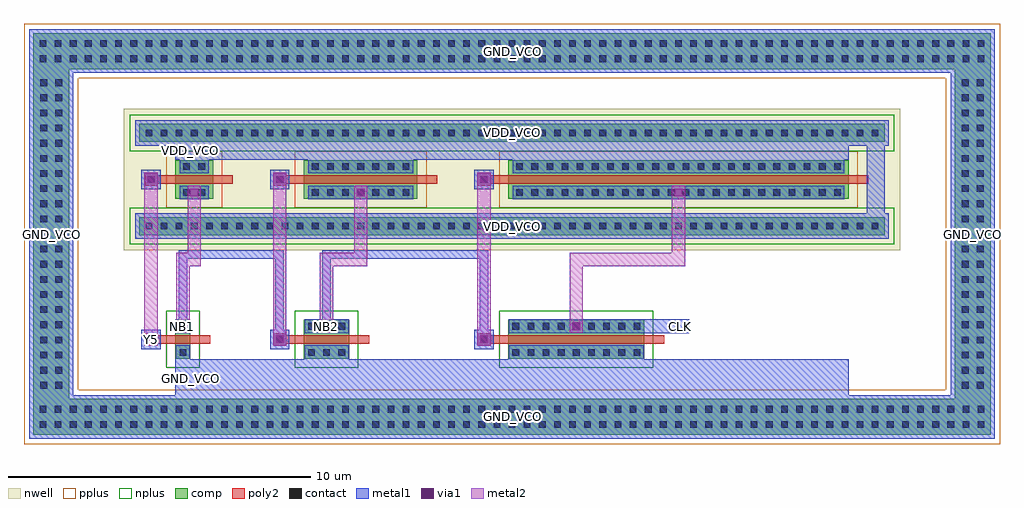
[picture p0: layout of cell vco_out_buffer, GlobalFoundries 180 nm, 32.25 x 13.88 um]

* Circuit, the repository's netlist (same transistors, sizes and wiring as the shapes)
* Extracted by KLayout with GF180MCU LVS runset on : 11/09/2026 00:06

.SUBCKT vco_out_buffer CLK GND_VCO NB1 NB2 VDD_VCO Y5
M$1 VDD_VCO NB2 CLK VDD_VCO pfet_03v3 L=0.28U W=11.25U AS=5.625P AD=5.625P
+ PS=23.5U PD=23.5U
M$2 VDD_VCO NB1 NB2 VDD_VCO pfet_03v3 L=0.28U W=3.75U AS=1.875P AD=1.875P
+ PS=8.5U PD=8.5U
M$3 VDD_VCO Y5 NB1 VDD_VCO pfet_03v3 L=0.28U W=1.25U AS=0.625P AD=0.625P
+ PS=3.5U PD=3.5U
M$4 CLK NB2 GND_VCO GND_VCO nfet_03v3 L=0.28U W=4.5U AS=2.25P AD=2.25P PS=10U
+ PD=10U
M$5 NB2 NB1 GND_VCO GND_VCO nfet_03v3 L=0.28U W=1.5U AS=0.75P AD=0.75P PS=4U
+ PD=4U
M$6 NB1 Y5 GND_VCO GND_VCO nfet_03v3 L=0.28U W=0.5U AS=0.25P AD=0.25P PS=2U
+ PD=2U
.ENDS vco_out_buffer

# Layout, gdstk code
import gdstk
lib = gdstk.Library(unit=1e-6, precision=1e-09)
def R(c, l, rs):  # rectangles x0, y0, x1, y1
    for r in rs: c.add(gdstk.rectangle(r[:2], r[2:], *l))
def A(c, l, x, y, w, h, nx, ny, dx, dy):  # array of equal rectangles
    R(c, l, [(x+i*dx, y+j*dy, x+i*dx+w, y+j*dy+h) for i in range(nx) for j in range(ny)])
nwell = (21, 0)
comp = (22, 0)
poly2 = (30, 0)
pplus = (31, 0)
nplus = (32, 0)
contact = (33, 0)
metal1 = (34, 0)
via1 = (35, 0)
metal2 = (36, 0)

vco_out_buffer = lib.new_cell('vco_out_buffer')
R(vco_out_buffer, nwell, [(-1.7,3.58,23.95,8.26)])
R(vco_out_buffer, comp, [(-4.7,-2.52,26.95,-1.32), (-4.7,-1.32,-3.5,9.56), (25.75,-1.32,26.95,9.56), (0,0,0.5,1.28), (4.25,0,5.75,1.28), (11,0,15.5,1.28), (-1.2,4.08,23.45,4.68), (0,5.28,1.25,6.56), (4.25,5.28,8,6.56), (11,5.28,22.25,6.56), (-1.2,7.16,23.45,7.76), (-4.7,9.56,26.95,10.76)])
R(vco_out_buffer, poly2, [(-1,0.44,-0.6,0.84), (3.25,0.44,3.65,0.84), (10,0.44,10.4,0.84), (-0.65,0.5,1.15,0.78), (3.6,0.5,6.4,0.78), (10.35,0.5,16.15,0.78), (-1,5.72,-0.6,6.12), (3.25,5.72,3.65,6.12), (10,5.72,10.4,6.12), (-0.65,5.78,1.9,6.06), (3.6,5.78,8.65,6.06), (10.35,5.78,22.9,6.06)])
R(vco_out_buffer, pplus, [(-5,-2.82,27.25,-1.02), (-5,-1.62,-3.2,9.86), (25.45,-1.62,27.25,9.86), (-0.3,4.98,1.55,6.86), (3.95,4.98,8.3,6.86), (10.7,4.98,22.55,6.86), (-5,9.26,27.25,11.06)])
R(vco_out_buffer, nplus, [(-0.3,-0.3,0.8,1.58), (3.95,-0.3,6.05,1.58), (10.7,-0.3,15.8,1.58), (-1.5,3.78,23.75,4.98), (-1.5,6.86,23.75,8.06)])
A(vco_out_buffer, contact, -4.485, -2.28, 0.22, 0.22, 63, 2, 0.5, 0.5)
A(vco_out_buffer, contact, -4.46, -0.99, 0.22, 0.22, 1, 21, 0, 0.5)
A(vco_out_buffer, contact, -3.96, -0.99, 0.22, 0.22, 1, 21, 0, 0.5)
A(vco_out_buffer, contact, 25.99, -0.99, 0.22, 0.22, 1, 21, 0, 0.5)
A(vco_out_buffer, contact, 26.49, -0.99, 0.22, 0.22, 1, 21, 0, 0.5)
A(vco_out_buffer, contact, 4.39, 0.1, 0.22, 0.22, 3, 2, 0.5, 0.86)
A(vco_out_buffer, contact, 11.14, 0.1, 0.22, 0.22, 9, 2, 0.5, 0.86)
A(vco_out_buffer, contact, -0.985, 4.27, 0.22, 0.22, 49, 2, 0.5, 3.08)
A(vco_out_buffer, contact, 4.515, 5.38, 0.22, 0.22, 7, 2, 0.5, 0.86)
A(vco_out_buffer, contact, 11.265, 5.38, 0.22, 0.22, 22, 2, 0.5, 0.86)
A(vco_out_buffer, contact, -4.485, 9.8, 0.22, 0.22, 63, 2, 0.5, 0.5)
R(vco_out_buffer, contact, [(0.14,0.1,0.36,0.32), (-0.91,0.53,-0.69,0.75), (3.34,0.53,3.56,0.75), (10.09,0.53,10.31,0.75), (0.14,0.96,0.36,1.18), (0.265,5.38,0.485,5.6), (0.765,5.38,0.985,5.6), (-0.91,5.81,-0.69,6.03), (3.34,5.81,3.56,6.03), (10.09,5.81,10.31,6.03), (0.265,6.24,0.485,6.46), (0.765,6.24,0.985,6.46)])
R(vco_out_buffer, metal1, [(-4.82,-2.64,27.07,-1.2), (-4.82,-1.44,-3.38,9.68), (25.63,-1.44,27.07,9.68), (0,-1.32,22.25,-0.02), (0.02,-0.02,0.48,0.44), (4.27,-0.02,5.73,0.44), (11.02,-0.02,15.48,0.44), (-1.12,0.32,-0.48,0.96), (3.13,0.32,3.77,0.96), (9.88,0.32,10.52,0.96), (-1.02,0.42,-0.58,0.86), (3.23,0.42,3.67,0.86), (9.98,0.42,10.42,0.86), (0.02,0.84,0.48,1.3), (4.27,0.84,5.73,1.3), (11.02,0.84,15.48,1.3), (11.02,0.84,16.98,1.3), (0.03,0.85,0.47,1.29), (4.78,0.85,5.22,1.29), (13.03,0.85,13.47,1.29), (3.31,0.96,3.59,3.45), (10.06,0.96,10.34,3.45), (0.11,1.3,0.39,3.45), (4.86,1.3,5.14,3.45), (0.11,3.31,3.59,3.59), (4.86,3.31,10.34,3.59), (-1.32,3.96,23.57,4.8), (22.85,4.68,23.45,7.16), (0.145,5.26,1.105,5.72), (4.395,5.26,7.855,5.72), (11.145,5.26,22.105,5.72), (0.405,5.27,0.845,5.71), (5.905,5.27,6.345,5.71), (16.405,5.27,16.845,5.71), (-1.12,5.6,-0.48,6.24), (3.13,5.6,3.77,6.24), (9.88,5.6,10.52,6.24), (-1.02,5.7,-0.58,6.14), (3.23,5.7,3.67,6.14), (9.98,5.7,10.42,6.14), (0.145,6.12,1.105,6.58), (4.395,6.12,7.855,6.58), (11.145,6.12,22.105,6.58), (0,6.58,22.25,7.16), (-1.32,7.04,23.57,7.88), (-4.82,9.44,27.07,10.88)])
R(vco_out_buffer, via1, [(-0.93,0.51,-0.67,0.77), (3.32,0.51,3.58,0.77), (10.07,0.51,10.33,0.77), (0.12,0.94,0.38,1.2), (4.87,0.94,5.13,1.2), (13.12,0.94,13.38,1.2), (0.495,5.36,0.755,5.62), (5.995,5.36,6.255,5.62), (16.495,5.36,16.755,5.62), (-0.93,5.79,-0.67,6.05), (3.32,5.79,3.58,6.05), (10.07,5.79,10.33,6.05)])
R(vco_out_buffer, metal2, [(-1.02,0.42,-0.58,0.86), (-1.02,0.42,-0.58,6.14), (3.23,0.42,3.67,0.86), (3.23,0.42,3.67,6.14), (9.98,0.42,10.42,0.86), (9.98,0.42,10.42,6.14), (0.03,0.85,0.47,1.29), (0.03,0.85,0.47,3.5), (4.78,0.85,5.22,1.29), (4.78,0.85,5.22,3.5), (13.03,0.85,13.47,1.29), (13.03,0.85,13.47,3.5), (0.03,3.06,0.845,3.5), (0.405,3.06,0.845,5.71), (4.78,3.06,6.345,3.5), (5.905,3.06,6.345,5.71), (13.03,3.06,16.845,3.5), (16.405,3.06,16.845,5.71), (0.405,5.27,0.845,5.71), (5.905,5.27,6.345,5.71), (16.405,5.27,16.845,5.71), (-1.02,5.7,-0.58,6.14), (3.23,5.7,3.67,6.14), (9.98,5.7,10.42,6.14)])
vco_out_buffer.add(gdstk.Label('NB1', (0.25,1.07), layer=34, texttype=10))
vco_out_buffer.add(gdstk.Label('NB2', (5,1.07), layer=34, texttype=10))
vco_out_buffer.add(gdstk.Label('Y5', (-0.8,0.64), layer=34, texttype=10))
vco_out_buffer.add(gdstk.Label('CLK', (16.68,1.07), layer=34, texttype=10))
vco_out_buffer.add(gdstk.Label('GND_VCO', (11.125,10.16), layer=34, texttype=10))
vco_out_buffer.add(gdstk.Label('GND_VCO', (11.125,-1.92), layer=34, texttype=10))
vco_out_buffer.add(gdstk.Label('GND_VCO', (-4.1,4.12), layer=34, texttype=10))
vco_out_buffer.add(gdstk.Label('GND_VCO', (26.35,4.12), layer=34, texttype=10))
vco_out_buffer.add(gdstk.Label('VDD_VCO', (11.125,7.46), layer=34, texttype=10))
vco_out_buffer.add(gdstk.Label('VDD_VCO', (11.125,4.38), layer=34, texttype=10))
vco_out_buffer.add(gdstk.Label('GND_VCO', (0.5,-0.67), layer=34, texttype=10))
vco_out_buffer.add(gdstk.Label('VDD_VCO', (0.5,6.87), layer=34, texttype=10))

lib.write_gds('vco_out_buffer.gds')
